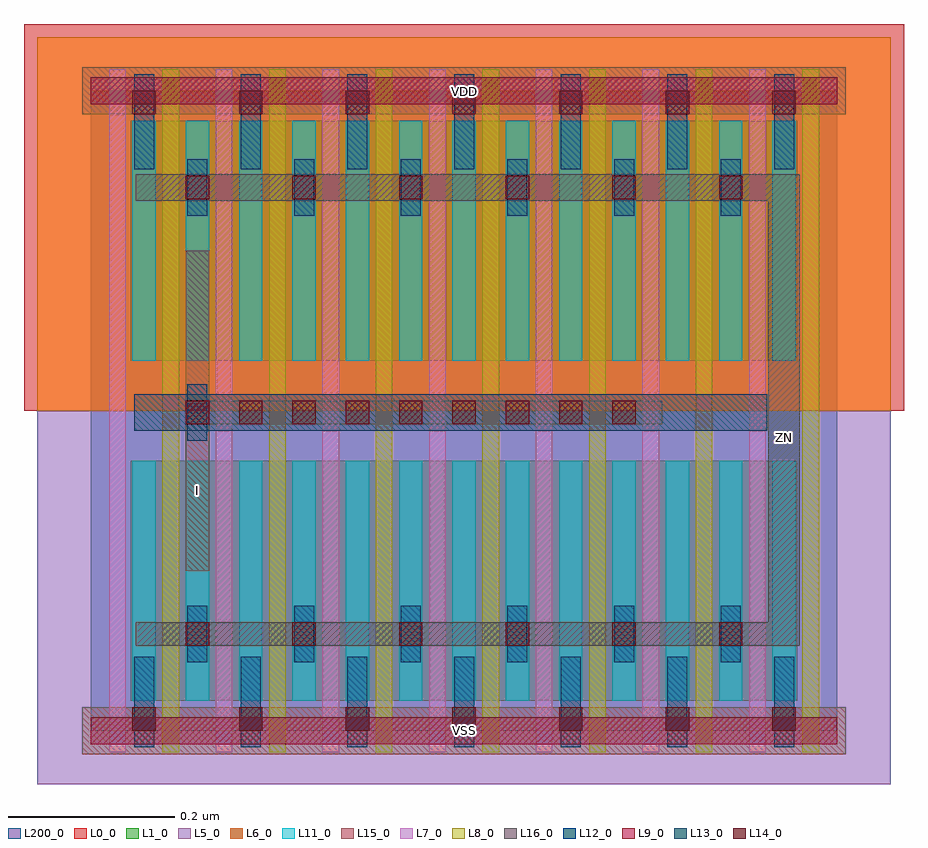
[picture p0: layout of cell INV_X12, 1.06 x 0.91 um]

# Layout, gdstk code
import gdstk
lib = gdstk.Library(unit=1e-6, precision=1e-09)
def R(c, l, rs):  # rectangles x0, y0, x1, y1
    for r in rs: c.add(gdstk.rectangle(r[:2], r[2:], *l))
def A(c, l, x, y, w, h, nx, ny, dx, dy):  # array of equal rectangles
    R(c, l, [(x+i*dx, y+j*dy, x+i*dx+w, y+j*dy+h) for i in range(nx) for j in range(ny)])
def P(c, l, *ps):  # polygons
    for p in ps: c.add(gdstk.Polygon(p, *l))
L0_0 = (0, 0)
L1_0 = (1, 0)
L5_0 = (5, 0)
L6_0 = (6, 0)
L7_0 = (7, 0)
L8_0 = (8, 0)
L9_0 = (9, 0)
L11_0 = (11, 0)
L12_0 = (12, 0)
L13_0 = (13, 0)
L14_0 = (14, 0)
L15_0 = (15, 0)
L16_0 = (16, 0)
L200_0 = (200, 0)

inv_x12 = lib.new_cell('INV_X12')
R(inv_x12, L0_0, [(-0.08,0.384,0.976,0.848)])
R(inv_x12, L1_0, [(0.048,0.036,0.848,0.324), (0.048,0.444,0.848,0.732)])
R(inv_x12, L5_0, [(-0.064,-0.064,0.96,0.384)])
R(inv_x12, L6_0, [(-0.064,0.384,0.96,0.832)])
A(inv_x12, L7_0, 0.022, -0.026, 0.02, 0.82, 7, 1, 0.128, 0)
A(inv_x12, L8_0, 0.086, -0.026, 0.02, 0.82, 7, 1, 0.128, 0)
R(inv_x12, L9_0, [(0,-0.016,0.896,0.016), (0,0.752,0.896,0.784)])
A(inv_x12, L11_0, 0.05, 0.036, 0.028, 0.288, 13, 2, 0.064, 0.408)
A(inv_x12, L12_0, 0.052, -0.02, 0.024, 0.109, 7, 1, 0.128, 0)
A(inv_x12, L12_0, 0.116, 0.082, 0.024, 0.068, 6, 2, 0.128, 0.536)
A(inv_x12, L12_0, 0.052, 0.674, 0.024, 0.114, 7, 1, 0.128, 0)
R(inv_x12, L12_0, [(0.116,0.348,0.14,0.416)])
R(inv_x12, L13_0, [(0.052,0.36,0.812,0.404)])
A(inv_x12, L14_0, 0.05, 0, 0.028, 0.028, 7, 2, 0.128, 0.74)
A(inv_x12, L14_0, 0.114, 0.102, 0.028, 0.028, 6, 2, 0.128, 0.536)
A(inv_x12, L14_0, 0.114, 0.368, 0.028, 0.028, 9, 1, 0.064, 0)
R(inv_x12, L15_0, [(-0.01,-0.028,0.906,0.028), (-0.01,0.74,0.906,0.796)])
P(inv_x12, L15_0, [(0.114,0.192),(0.142,0.192),(0.142,0.368),(0.686,0.368),(0.686,0.396),(0.142,0.396),(0.142,0.576),(0.114,0.576)])
P(inv_x12, L16_0, [(0.054,0.636),(0.813,0.636),(0.813,0.13),(0.054,0.13),(0.054,0.102),(0.851,0.102),(0.851,0.668),(0.054,0.668)])
R(inv_x12, L200_0, [(0,0,0.896,0.768)])
inv_x12.add(gdstk.Label('VSS', (0.448,0), layer=15, texttype=20))
inv_x12.add(gdstk.Label('I', (0.128,0.288), layer=15, texttype=20))
inv_x12.add(gdstk.Label('VDD', (0.448,0.767), layer=15, texttype=20))
inv_x12.add(gdstk.Label('ZN', (0.832,0.352), layer=16, texttype=20))

lib.write_gds('INV_X12.gds')
